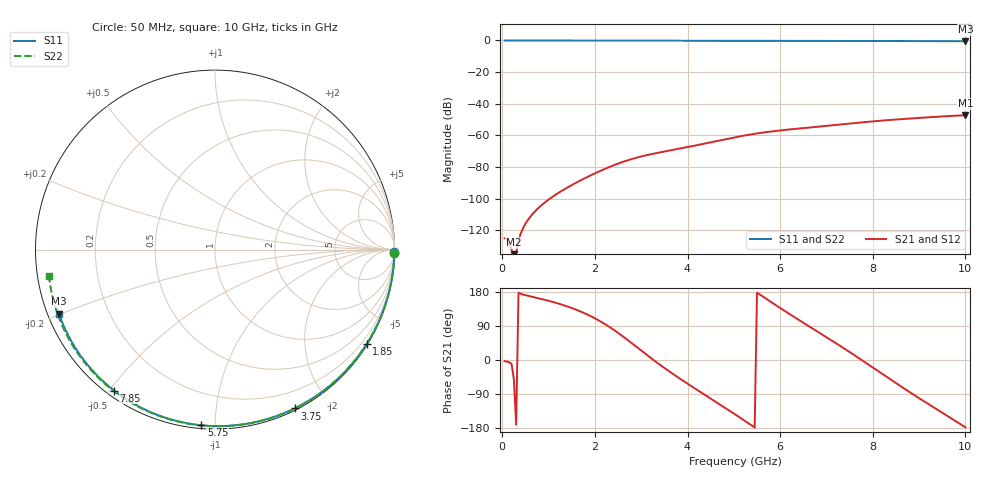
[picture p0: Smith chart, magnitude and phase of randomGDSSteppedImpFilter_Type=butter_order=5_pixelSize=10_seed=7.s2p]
! freq	dB(S11)	phase(S11)	dB(S12)	phase(S12)
!  dB(S21)	phase(S21)	dB(S22)	phase(S22)
!S-par simulation data
#  GHz  S  DB  R 50
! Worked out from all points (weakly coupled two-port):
!   200 points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, 50 MHz to 10 GHz, reference 50 ohm
!   highest |S21| = -47.29 dB at 10 GHz (marker M1); lowest = -141.1 dB at 250 MHz (marker M2)
!   lowest |S11| = -0.5 dB at 10 GHz (marker M3), VSWR 32.23, Z = 1.61 - j9.88 ohm
!   |S11| at or under -10 dB: nowhere
!   |S22| runs from -0.6 to 0.0 dB; largest |S21 - S12| = 0
!   S11 on the Smith chart (normalised r, x): 50 MHz: open; 1.85 GHz: 0.03, -3.49; 3.75 GHz: 0.02, -1.62; 5.75 GHz: 0.02, -0.92; 7.85 GHz: 0.02, -0.51; 10 GHz: 0.03, -0.20
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0.05  -0.00 -0.9  -124.97 -3.1  -124.97 -3.1  -0.00 -1.0
0.25  -0.01 -4.4  -141.15 -51.1  -141.15 -51.1  -0.01 -4.7
1  -0.02 -17.4  -100.54 156.2  -100.54 156.2  -0.02 -18.8
1.75  -0.04 -30.3  -87.53 124.8  -87.53 124.8  -0.04 -32.6
1.85  -0.04 -32.0  -86.08 119.2  -86.08 119.2  -0.04 -34.5
2.3  -0.05 -39.5  -80.10 88.3  -80.10 88.3  -0.05 -42.6
2.6  -0.06 -44.5  -76.75 62.7  -76.75 62.7  -0.06 -48.0
2.85  -0.06 -48.7  -74.46 39.2  -74.46 39.2  -0.07 -52.5
3.1  -0.07 -52.8  -72.60 15.4  -72.60 15.4  -0.07 -56.9
3.4  -0.08 -57.7  -70.76 -12.2  -70.76 -12.2  -0.08 -62.1
3.75  -0.09 -63.3  -68.79 -42.2  -68.79 -42.2  -0.09 -68.2
4.4  -0.11 -73.7  -64.96 -93.9  -64.96 -93.9  -0.11 -79.3
5.05  -0.13 -83.8  -61.04 -145.3  -61.04 -145.3  -0.14 -90.1
5.4  -0.15 -89.1  -59.22 -174.0  -59.22 -174.0  -0.16 -95.9
5.75  -0.16 -94.5  -57.74 157.4  -57.74 157.4  -0.17 -101.6
6.2  -0.19 -101.2  -56.24 121.5  -56.24 121.5  -0.20 -108.9
6.7  -0.22 -108.7  -54.83 83.1  -54.83 83.1  -0.23 -116.9
7.25  -0.25 -116.8  -53.27 40.8  -53.27 40.8  -0.27 -125.7
7.85  -0.30 -125.6  -51.54 -7.4  -51.54 -7.4  -0.32 -135.3
8.35  -0.35 -132.9  -50.29 -48.8  -50.29 -48.8  -0.37 -143.4
9.2  -0.44 -145.5  -48.57 -116.2  -48.57 -116.2  -0.47 -157.4
10  -0.54 -157.6  -47.29 -177.6  -47.29 -177.6  -0.57 -171.1
